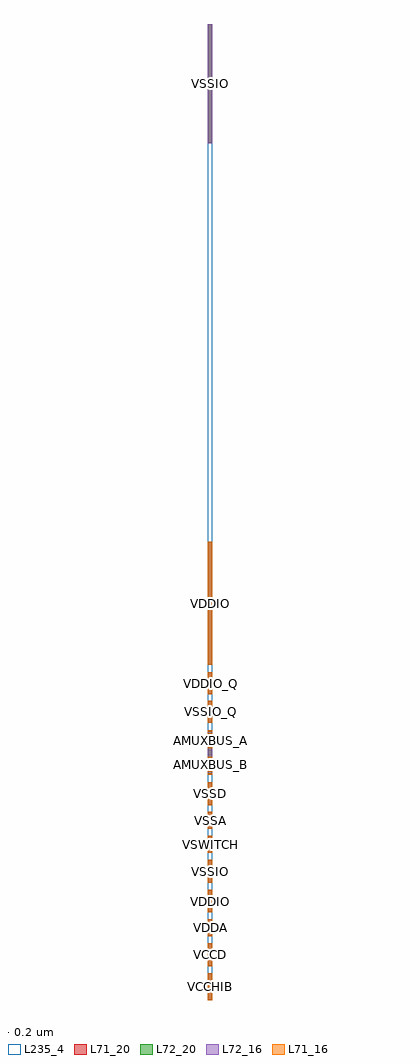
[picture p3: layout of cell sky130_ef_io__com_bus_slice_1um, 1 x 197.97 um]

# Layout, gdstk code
import gdstk
lib = gdstk.Library(unit=1e-6, precision=1e-09)
def R(c, l, rs):  # rectangles x0, y0, x1, y1
    for r in rs: c.add(gdstk.rectangle(r[:2], r[2:], *l))
L71_16 = (71, 16)
L71_20 = (71, 20)
L72_16 = (72, 16)
L72_20 = (72, 20)
L235_4 = (235, 4)

sky130_ef_io__com_bus_sl = lib.new_cell('sky130_ef_io__com_bus_slice_1um')
R(sky130_ef_io__com_bus_sl, L71_16, [(0,0,1,5.45), (0,6.85,1,11.5), (0,12.9,1,16.35), (0,17.75,1,22.4), (0,23.8,1,28.45), (0,29.85,1,33.3), (0,34.7,1,38.15), (0,39.55,1,44.2), (0,45.7,1,46.03), (0,46.33,1,49.31), (0,51.09,1,54.07), (0,54.37,1,54.7), (0,56.2,1,60.65), (0,62.05,1,66.5), (0,68,1,92.965)])
R(sky130_ef_io__com_bus_sl, L71_20, [(0,0,1,5.45), (0,6.85,1,11.5), (0,12.9,1,16.35), (0,17.75,1,22.4), (0,23.8,1,28.45), (0,29.85,1,33.3), (0,34.7,1,38.15), (0,39.55,1,44.2), (0,45.7,1,46.03), (0,46.33,1,49.31), (0,49.61,1,50.79), (0,51.09,1,54.07), (0,54.37,1,54.7), (0,56.2,1,60.65), (0,62.05,1,66.5), (0,68,1,92.965), (0,173.75,1,197.965)])
R(sky130_ef_io__com_bus_sl, L72_16, [(0,0.1,1,5.35), (0,6.95,1,11.4), (0,13,1,16.25), (0,17.85,1,22.3), (0,23.9,1,28.35), (0,29.95,1,33.2), (0,34.8,1,38.05), (0,39.65,1,44.1), (0,45.7,1,54.7), (0,56.3,1,60.55), (0,62.15,1,66.4), (0,68,1,92.95), (0,173.75,1,197.965)])
R(sky130_ef_io__com_bus_sl, L72_20, [(0,0.1,1,5.35), (0,6.95,1,11.4), (0,13,1,16.25), (0,17.85,1,22.3), (0,23.9,1,28.35), (0,29.95,1,33.2), (0,34.8,1,38.05), (0,39.65,1,44.1), (0,45.7,1,54.7), (0,56.3,1,60.55), (0,62.15,1,66.4), (0,68,1,92.95), (0,173.75,1,197.965)])
R(sky130_ef_io__com_bus_sl, L235_4, [(0,0,1,197.965)])
sky130_ef_io__com_bus_sl.add(gdstk.Label('AMUXBUS_A', (0.5,52.58), layer=71, texttype=16))
sky130_ef_io__com_bus_sl.add(gdstk.Label('AMUXBUS_B', (0.5,47.82), layer=71, texttype=16))
sky130_ef_io__com_bus_sl.add(gdstk.Label('VSSA', (0.5,50.2), layer=72, texttype=16))
sky130_ef_io__com_bus_sl.add(gdstk.Label('VSSA', (0.5,54.535), layer=71, texttype=16))
sky130_ef_io__com_bus_sl.add(gdstk.Label('VSSA', (0.5,45.865), layer=71, texttype=16))
sky130_ef_io__com_bus_sl.add(gdstk.Label('VSSA', (0.5,36.425), layer=72, texttype=16))
sky130_ef_io__com_bus_sl.add(gdstk.Label('VSSA', (0.5,36.425), layer=71, texttype=16))
sky130_ef_io__com_bus_sl.add(gdstk.Label('VDDA', (0.5,14.625), layer=72, texttype=16))
sky130_ef_io__com_bus_sl.add(gdstk.Label('VDDA', (0.5,14.625), layer=71, texttype=16))
sky130_ef_io__com_bus_sl.add(gdstk.Label('VSWITCH', (0.5,31.575), layer=72, texttype=16))
sky130_ef_io__com_bus_sl.add(gdstk.Label('VSWITCH', (0.5,31.575), layer=71, texttype=16))
sky130_ef_io__com_bus_sl.add(gdstk.Label('VDDIO_Q', (0.5,64.275), layer=72, texttype=16))
sky130_ef_io__com_bus_sl.add(gdstk.Label('VDDIO_Q', (0.5,64.275), layer=71, texttype=16))
sky130_ef_io__com_bus_sl.add(gdstk.Label('VCCHIB', (0.5,2.725), layer=72, texttype=16))
sky130_ef_io__com_bus_sl.add(gdstk.Label('VCCHIB', (0.5,2.725), layer=71, texttype=16))
sky130_ef_io__com_bus_sl.add(gdstk.Label('VDDIO', (0.5,80.475), layer=72, texttype=16))
sky130_ef_io__com_bus_sl.add(gdstk.Label('VDDIO', (0.5,80.482), layer=71, texttype=16))
sky130_ef_io__com_bus_sl.add(gdstk.Label('VDDIO', (0.5,20.075), layer=72, texttype=16))
sky130_ef_io__com_bus_sl.add(gdstk.Label('VDDIO', (0.5,20.075), layer=71, texttype=16))
sky130_ef_io__com_bus_sl.add(gdstk.Label('VCCD', (0.5,9.175), layer=72, texttype=16))
sky130_ef_io__com_bus_sl.add(gdstk.Label('VCCD', (0.5,9.175), layer=71, texttype=16))
sky130_ef_io__com_bus_sl.add(gdstk.Label('VSSIO', (0.5,26.125), layer=72, texttype=16))
sky130_ef_io__com_bus_sl.add(gdstk.Label('VSSIO', (0.5,26.125), layer=71, texttype=16))
sky130_ef_io__com_bus_sl.add(gdstk.Label('VSSIO', (0.5,185.857), layer=72, texttype=16))
sky130_ef_io__com_bus_sl.add(gdstk.Label('VSSD', (0.5,41.875), layer=72, texttype=16))
sky130_ef_io__com_bus_sl.add(gdstk.Label('VSSD', (0.5,41.875), layer=71, texttype=16))
sky130_ef_io__com_bus_sl.add(gdstk.Label('VSSIO_Q', (0.5,58.425), layer=72, texttype=16))
sky130_ef_io__com_bus_sl.add(gdstk.Label('VSSIO_Q', (0.5,58.425), layer=71, texttype=16))

lib.write_gds('sky130_ef_io__com_bus_slice_1um.gds')
